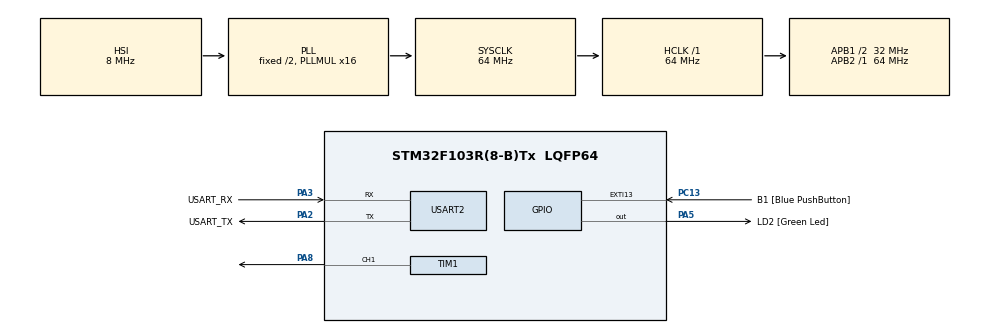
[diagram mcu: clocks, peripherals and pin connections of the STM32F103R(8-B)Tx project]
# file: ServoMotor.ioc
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Mcu.Family=STM32F1
Mcu.Name=STM32F103R(8-B)Tx
Mcu.Package=LQFP64
NVIC.EXTI15_10_IRQn=true\:0\:0\:false\:false\:true\:true\:true\:true
NVIC.PriorityGroup=NVIC_PRIORITYGROUP_4
PA13.GPIO_Label=TMS
PA13.Mode=Serial_Wire
PA13.Signal=SYS_JTMS-SWDIO
PA14.GPIO_Label=TCK
PA14.Mode=Serial_Wire
PA14.Signal=SYS_JTCK-SWCLK
PA2.GPIO_Label=USART_TX
PA2.GPIO_Mode=GPIO_MODE_AF_PP
PA2.GPIO_PuPd=GPIO_NOPULL
PA2.GPIO_Speed=GPIO_SPEED_FREQ_LOW
PA2.Mode=Asynchronous
PA2.Signal=USART2_TX
PA3.GPIO_Label=USART_RX
PA3.GPIO_Mode=GPIO_MODE_AF_PP
PA3.GPIO_PuPd=GPIO_NOPULL
PA3.GPIO_Speed=GPIO_SPEED_FREQ_LOW
PA3.Mode=Asynchronous
PA3.Signal=USART2_RX
PA5.GPIO_Label=LD2 [Green Led]
PA5.GPIO_ModeDefaultOutputPP=GPIO_MODE_OUTPUT_PP
PA5.GPIO_PuPd=GPIO_NOPULL
PA5.GPIO_Speed=GPIO_SPEED_FREQ_LOW
PA5.Signal=GPIO_Output
PA8.Signal=S_TIM1_CH1
PB3.GPIO_Label=SWO
PB3.Signal=SYS_JTDO-TRACESWO
PC13-TAMPER-RTC.GPIO_Label=B1 [Blue PushButton]
PC13-TAMPER-RTC.GPIO_PuPd=GPIO_NOPULL
PC13-TAMPER-RTC.Signal=GPXTI13
PC14-OSC32_IN.Signal=RCC_OSC32_IN
PC15-OSC32_OUT.Signal=RCC_OSC32_OUT
PD0-OSC_IN.Signal=RCC_OSC_IN
PD1-OSC_OUT.Signal=RCC_OSC_OUT
ProjectManager.HeapSize=0x200
ProjectManager.StackSize=0x400
ProjectManager.TargetToolchain=STM32CubeIDE
RCC.AHBFreq_Value=64000000
RCC.APB1CLKDivider=RCC_HCLK_DIV2
RCC.APB1Freq_Value=32000000
RCC.APB1TimFreq_Value=64000000
RCC.APB2Freq_Value=64000000
RCC.APB2TimFreq_Value=64000000
RCC.HCLKFreq_Value=64000000
RCC.PLLMUL=RCC_PLL_MUL16
RCC.RTCClockSelection=RCC_RTCCLKSOURCE_LSE
RCC.SYSCLKFreq_VALUE=64000000
RCC.SYSCLKSource=RCC_SYSCLKSOURCE_PLLCLK
RCC.USBFreq_Value=64000000
SH.S_TIM1_CH1.0=TIM1_CH1,PWM Generation1 CH1
TIM1.Channel-PWM\ Generation1\ CH1=TIM_CHANNEL_1
TIM1.Period=1000-1
TIM1.Prescaler=1280-1
TIM1.Pulse-PWM\ Generation1\ CH1=800
USART2.VirtualMode=VM_ASYNC
VP_TIM1_VS_ClockSourceINT.Mode=Internal
board=NUCLEO-F103RB

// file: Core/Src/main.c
/* USER CODE BEGIN Header */
/**
 ******************************************************************************
 * @file           : main.c
 * @brief          : Main program body
 ******************************************************************************
 * @attention
 *
 * Copyright (c) 2025 STMicroelectronics.
 * All rights reserved.
 *
 * This software is licensed under terms that can be found in the LICENSE file
 * in the root directory of this software component.
 * If no LICENSE file comes with this software, it is provided AS-IS.
 *
 ******************************************************************************
 */
/* USER CODE END Header */
#include "main.h"

/* USER CODE BEGIN Includes */
#include <stdio.h>

/* USER CODE END Includes */

/* USER CODE BEGIN PD */
#define MAX 125      // 2.5ms pulse width (180도)
#define MIN 25       // 0.5ms pulse width (0도)
#define CENTER 75    // 1.5ms pulse width (90도)
#define STEP 5       // 이동 단위
/* USER CODE END PD */

TIM_HandleTypeDef htim1;

UART_HandleTypeDef huart2;

/* USER CODE BEGIN PV */
uint8_t ch;
uint8_t pos_pan = CENTER;
uint8_t pos_tilt = CENTER;
/* USER CODE END PV */

void SystemClock_Config(void);
static void MX_GPIO_Init(void);
static void MX_USART2_UART_Init(void);
static void MX_TIM1_Init(void);
/* USER CODE BEGIN PFP */
uint16_t pwm_to_angle(uint8_t pwm_value);
void display_servo_status(uint8_t pan, uint8_t tilt);
/* USER CODE END PFP */

/* USER CODE BEGIN 0 */
#ifdef __GNUC__
/* With GCC, small printf (option LD Linker->Libraries->Small printf
 set to 'Yes') calls __io_putchar() */
#define PUTCHAR_PROTOTYPE int __io_putchar(int ch)
#else
#define PUTCHAR_PROTOTYPE int fputc(int ch, FILE *f)
#endif /* __GNUC__ */

/**
 * @brief  Retargets the C library printf function to the USART.
 * @param  None
 * @retval None
 */
PUTCHAR_PROTOTYPE {
	/* Place your implementation of fputc here */
	/* e.g. write a character to the USART1 and Loop until the end of transmission */
	if (ch == '\n')
		HAL_UART_Transmit(&huart2, (uint8_t*) "\r", 1, 0xFFFF);
	HAL_UART_Transmit(&huart2, (uint8_t*) &ch, 1, 0xFFFF);

	return ch;
}

/**
 * @brief  PWM 값을 각도로 변환하는 함수
 * @param  pwm_value: PWM 듀티 사이클 값 (25~125)
 * @retval 각도 값 (0~1800, 실제 각도 x 10)
 */
uint16_t pwm_to_angle(uint8_t pwm_value) {
	// PWM 25~125 범위를 0~180도로 변환
	// 소수점 계산을 위해 10배로 확대 (0~1800)
	// 공식: angle = (pwm_value - 25) * 1800 / (125 - 25)
	return ((uint16_t) (pwm_value - MIN) * 1800) / (MAX - MIN);
}

/**
 * @brief  서보모터 상태를 화면에 출력하는 함수
 * @param  pan: Pan 서보 PWM 값
 * @param  tilt: Tilt 서보 PWM 값
 * @retval None
 */
void display_servo_status(uint8_t pan, uint8_t tilt) {
	uint16_t pan_angle = pwm_to_angle(pan);
	uint16_t tilt_angle = pwm_to_angle(tilt);

	printf("Pan: %3d (%3d.%d°) | Tilt: %3d (%3d.%d°)\r\n", pan, pan_angle / 10,
			pan_angle % 10, tilt, tilt_angle / 10, tilt_angle % 10);
}
/* USER CODE END 0 */

int main(void)
{

  /* MCU Configuration--------------------------------------------------------*/

  /* Reset of all peripherals, Initializes the Flash interface and the Systick. */
  HAL_Init();

  /* Configure the system clock */
  SystemClock_Config();

  /* Initialize all configured peripherals */
  MX_GPIO_Init();
  MX_USART2_UART_Init();
  MX_TIM1_Init();
  /* USER CODE BEGIN 2 */
	// PWM 시작
	HAL_TIM_PWM_Start(&htim1, TIM_CHANNEL_1);
	HAL_TIM_PWM_Start(&htim1, TIM_CHANNEL_1);

	// 초기 위치 설정
	__HAL_TIM_SET_COMPARE(&htim1, TIM_CHANNEL_1, pos_pan);
	__HAL_TIM_SET_COMPARE(&htim1, TIM_CHANNEL_1, pos_tilt);

	printf("\r\n=== SG90 Servo Control System ===\r\n");
	printf("Commands: w(up), s(down), a(left), d(right), i(center)\r\n");
	printf("Initial Position:\r\n");
	display_servo_status(pos_pan, pos_tilt);
	printf("Ready!\r\n\r\n");

  /* USER CODE END 2 */

  /* Infinite loop */
  /* USER CODE BEGIN WHILE */
	while (1) {

		if (HAL_UART_Receive(&huart2, &ch, sizeof(ch), 10) == HAL_OK) {
			// 명령 처리
			if (ch == 's')  // Down
					{
				printf("Command: Down\r\n");
				if (pos_tilt + STEP <= MAX)
					pos_tilt = pos_tilt + STEP;
				else
					pos_tilt = MAX;
			} else if (ch == 'w')  // Up
					{
				printf("Command: Up\r\n");
				if (pos_tilt - STEP >= MIN)
					pos_tilt = pos_tilt - STEP;
				else
					pos_tilt = MIN;
			} else if (ch == 'a')  // Left
					{
				printf("Command: Left\r\n");
				if (pos_pan + STEP <= MAX)
					pos_pan = pos_pan + STEP;
				else
					pos_pan = MAX;
			} else if (ch == 'd')  // Right
					{
				printf("Command: Right\r\n");
				if (pos_pan - STEP >= MIN)
					pos_pan = pos_pan - STEP;
				else
					pos_pan = MIN;
			} else if (ch == 'i')  // Center
					{
				printf("Command: Center\r\n");
				pos_pan = CENTER;
				pos_tilt = CENTER;
			} else {
				printf("Invalid command: %c\r\n", ch);
				continue;  // 잘못된 명령이면 PWM 업데이트 하지 않음
			}

			// PWM 듀티 사이클 업데이트
			__HAL_TIM_SET_COMPARE(&htim1, TIM_CHANNEL_1, pos_pan);
			__HAL_TIM_SET_COMPARE(&htim1, TIM_CHANNEL_1, pos_tilt);

			// 상태 출력 (pwm_to_angle 함수 실제 사용됨)
			display_servo_status(pos_pan, pos_tilt);

			HAL_Delay(50); // 서보 응답 시간
		}

    /* USER CODE END WHILE */

	}
}

void SystemClock_Config(void)
{
  RCC_OscInitTypeDef RCC_OscInitStruct = {0};
  RCC_ClkInitTypeDef RCC_ClkInitStruct = {0};

  /** Initializes the RCC Oscillators according to the specified parameters
  * in the RCC_OscInitTypeDef structure.
  */
  RCC_OscInitStruct.OscillatorType = RCC_OSCILLATORTYPE_HSI;
  RCC_OscInitStruct.HSIState = RCC_HSI_ON;
  RCC_OscInitStruct.HSICalibrationValue = RCC_HSICALIBRATION_DEFAULT;
  RCC_OscInitStruct.PLL.PLLState = RCC_PLL_ON;
  RCC_OscInitStruct.PLL.PLLSource = RCC_PLLSOURCE_HSI_DIV2;
  RCC_OscInitStruct.PLL.PLLMUL = RCC_PLL_MUL16;
  if (HAL_RCC_OscConfig(&RCC_OscInitStruct) != HAL_OK)
  {
    Error_Handler();
  }

  /** Initializes the CPU, AHB and APB buses clocks
  */
  RCC_ClkInitStruct.ClockType = RCC_CLOCKTYPE_HCLK|RCC_CLOCKTYPE_SYSCLK
                              |RCC_CLOCKTYPE_PCLK1|RCC_CLOCKTYPE_PCLK2;
  RCC_ClkInitStruct.SYSCLKSource = RCC_SYSCLKSOURCE_PLLCLK;
  RCC_ClkInitStruct.AHBCLKDivider = RCC_SYSCLK_DIV1;
  RCC_ClkInitStruct.APB1CLKDivider = RCC_HCLK_DIV2;
  RCC_ClkInitStruct.APB2CLKDivider = RCC_HCLK_DIV1;

  if (HAL_RCC_ClockConfig(&RCC_ClkInitStruct, FLASH_LATENCY_2) != HAL_OK)
  {
    Error_Handler();
  }
}

static void MX_TIM1_Init(void)
{

  TIM_ClockConfigTypeDef sClockSourceConfig = {0};
  TIM_MasterConfigTypeDef sMasterConfig = {0};
  TIM_OC_InitTypeDef sConfigOC = {0};
  TIM_BreakDeadTimeConfigTypeDef sBreakDeadTimeConfig = {0};

  htim1.Instance = TIM1;
  htim1.Init.Prescaler = 1280-1;
  htim1.Init.CounterMode = TIM_COUNTERMODE_UP;
  htim1.Init.Period = 1000-1;
  htim1.Init.ClockDivision = TIM_CLOCKDIVISION_DIV1;
  htim1.Init.RepetitionCounter = 0;
  htim1.Init.AutoReloadPreload = TIM_AUTORELOAD_PRELOAD_DISABLE;
  if (HAL_TIM_Base_Init(&htim1) != HAL_OK)
  {
    Error_Handler();
  }
  sClockSourceConfig.ClockSource = TIM_CLOCKSOURCE_INTERNAL;
  if (HAL_TIM_ConfigClockSource(&htim1, &sClockSourceConfig) != HAL_OK)
  {
    Error_Handler();
  }
  if (HAL_TIM_PWM_Init(&htim1) != HAL_OK)
  {
    Error_Handler();
  }
  sMasterConfig.MasterOutputTrigger = TIM_TRGO_RESET;
  sMasterConfig.MasterSlaveMode = TIM_MASTERSLAVEMODE_DISABLE;
  if (HAL_TIMEx_MasterConfigSynchronization(&htim1, &sMasterConfig) != HAL_OK)
  {
    Error_Handler();
  }
  sConfigOC.OCMode = TIM_OCMODE_PWM1;
  sConfigOC.Pulse = 800;
  sConfigOC.OCPolarity = TIM_OCPOLARITY_HIGH;
  sConfigOC.OCNPolarity = TIM_OCNPOLARITY_HIGH;
  sConfigOC.OCFastMode = TIM_OCFAST_DISABLE;
  sConfigOC.OCIdleState = TIM_OCIDLESTATE_RESET;
  sConfigOC.OCNIdleState = TIM_OCNIDLESTATE_RESET;
  if (HAL_TIM_PWM_ConfigChannel(&htim1, &sConfigOC, TIM_CHANNEL_1) != HAL_OK)
  {
    Error_Handler();
  }
  sBreakDeadTimeConfig.OffStateRunMode = TIM_OSSR_DISABLE;
  sBreakDeadTimeConfig.OffStateIDLEMode = TIM_OSSI_DISABLE;
  sBreakDeadTimeConfig.LockLevel = TIM_LOCKLEVEL_OFF;
  sBreakDeadTimeConfig.DeadTime = 0;
  sBreakDeadTimeConfig.BreakState = TIM_BREAK_DISABLE;
  sBreakDeadTimeConfig.BreakPolarity = TIM_BREAKPOLARITY_HIGH;
  sBreakDeadTimeConfig.AutomaticOutput = TIM_AUTOMATICOUTPUT_DISABLE;
  if (HAL_TIMEx_ConfigBreakDeadTime(&htim1, &sBreakDeadTimeConfig) != HAL_OK)
  {
    Error_Handler();
  }
  HAL_TIM_MspPostInit(&htim1);

}

static void MX_USART2_UART_Init(void)
{

  huart2.Instance = USART2;
  huart2.Init.BaudRate = 115200;
  huart2.Init.WordLength = UART_WORDLENGTH_8B;
  huart2.Init.StopBits = UART_STOPBITS_1;
  huart2.Init.Parity = UART_PARITY_NONE;
  huart2.Init.Mode = UART_MODE_TX_RX;
  huart2.Init.HwFlowCtl = UART_HWCONTROL_NONE;
  huart2.Init.OverSampling = UART_OVERSAMPLING_16;
  if (HAL_UART_Init(&huart2) != HAL_OK)
  {
    Error_Handler();
  }

}

static void MX_GPIO_Init(void)
{
  GPIO_InitTypeDef GPIO_InitStruct = {0};

  /* GPIO Ports Clock Enable */
  __HAL_RCC_GPIOC_CLK_ENABLE();
  __HAL_RCC_GPIOD_CLK_ENABLE();
  __HAL_RCC_GPIOA_CLK_ENABLE();
  __HAL_RCC_GPIOB_CLK_ENABLE();

  /*Configure GPIO pin Output Level */
  HAL_GPIO_WritePin(LD2_GPIO_Port, LD2_Pin, GPIO_PIN_RESET);

  /*Configure GPIO pin : B1_Pin */
  GPIO_InitStruct.Pin = B1_Pin;
  GPIO_InitStruct.Mode = GPIO_MODE_IT_RISING;
  GPIO_InitStruct.Pull = GPIO_NOPULL;
  HAL_GPIO_Init(B1_GPIO_Port, &GPIO_InitStruct);

  /*Configure GPIO pin : LD2_Pin */
  GPIO_InitStruct.Pin = LD2_Pin;
  GPIO_InitStruct.Mode = GPIO_MODE_OUTPUT_PP;
  GPIO_InitStruct.Pull = GPIO_NOPULL;
  GPIO_InitStruct.Speed = GPIO_SPEED_FREQ_LOW;
  HAL_GPIO_Init(LD2_GPIO_Port, &GPIO_InitStruct);

  /* EXTI interrupt init*/
  HAL_NVIC_SetPriority(EXTI15_10_IRQn, 0, 0);
  HAL_NVIC_EnableIRQ(EXTI15_10_IRQn);

}

void Error_Handler(void)
{
	__disable_irq();
	while (1) {
	}
}
